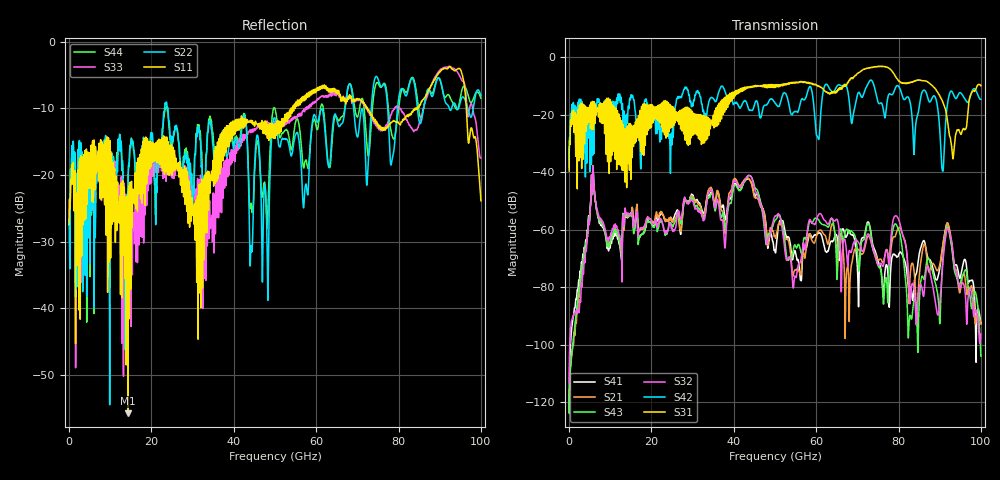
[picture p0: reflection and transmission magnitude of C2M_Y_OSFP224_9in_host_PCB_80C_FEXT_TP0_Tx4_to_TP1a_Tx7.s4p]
# GHz S RI R 45
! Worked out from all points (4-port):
!   4000 points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, 25 MHz to 100 GHz, reference 45 ohm
!   strongest paths, dB at 25 MHz, 25.02 GHz, 50.02 GHz, 75.03 GHz, 100 GHz:
!     S31: -39.5, -23.5, -10.6, -3.3, -9.9
!     S42: -38.3, -28.8, -16.0, -15.6, -14.6
!     S32: -113.1, -59.3, -55.2, -72.0, -96.2
!     S43: -123.8, -58.3, -56.6, -72.4, -103.9
!     S21: -123.3, -56.5, -62.1, -70.3, -92.8
!     S41: -123.4, -56.3, -67.2, -70.8, -92.6
!   lowest |S11| = -55.8 dB at 14.28 GHz (marker M1), VSWR 1.00, Z = 45.1 - j0.0359 ohm
!   |S11| at or under -10 dB: start of sweep to 53.94 GHz; 72.47 GHz to 83.99 GHz (11.52 GHz wide, 14.7 % of centre); 96.47 GHz to end of sweep (the widest 3 of 8)
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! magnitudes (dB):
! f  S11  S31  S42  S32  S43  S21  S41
! 25 MHz  -27.4  -39.5  -38.3  -113.1  -123.8  -123.3  -123.4
! 5.75 GHz  -15.0  -15.4  -34.1  -40.8  -40.6  -40.9  -40.7
! 14.28 GHz  -55.8  -28.4  -19.4  -54.5  -55.0  -55.2  -55.4
! 43.85 GHz  -11.9  -10.5  -18.5  -41.2  -41.1  -42.6  -42.6
! 54.67 GHz  -9.5  -8.8  -18.9  -77.3  -65.4  -74.3  -67.8
! 79.38 GHz  -12.1  -7.0  -10.3  -55.1  -58.0  -61.5  -69.0
! 100 GHz  -23.9  -9.9  -14.6  -96.2  -103.9  -92.8  -92.6
